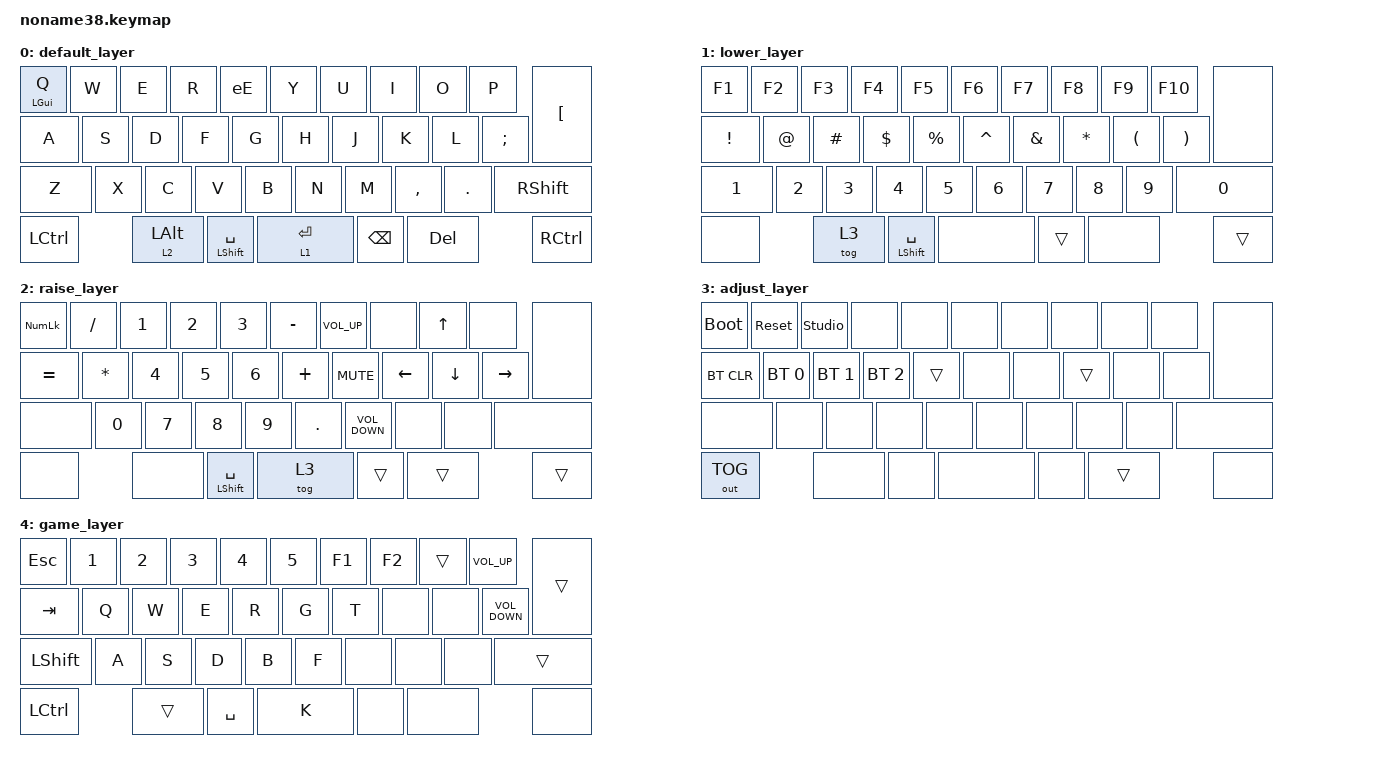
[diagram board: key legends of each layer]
/*
 * Copyright (c) 2020 The ZMK Contributors
 *
 * SPDX-License-Identifier: MIT
 */

#include <behaviors.dtsi>
#include <dt-bindings/zmk/bt.h>
#include <dt-bindings/zmk/keys.h>
#include <dt-bindings/zmk/outputs.h>

#define DEF 0
#define LWR 1
#define RSE 2
#define ADJ 3
#define GME 4

&lt { quick-tap-ms = <200>; };

&mt { quick-tap-ms = <200>; };

/ {
    combos {
        compatible = "zmk,combos";

        to_game_layer {
            bindings = <&to 4>;
            key-positions = <11 23>;
            layers = <0>;
        };

        to_default_layer {
            bindings = <&to 0>;
            key-positions = <2 12>;
            layers = <4>;
        };

        combo_backspace {
            bindings = <&kp BACKSPACE>;
            key-positions = <32 33>;
            layers = <0>;
        };

        combo_copy {
            bindings = <&kp LC(C)>;
            key-positions = <1 2 3>;
            layers = <0>;
        };

        combo_paste {
            bindings = <&kp LC(V)>;
            key-positions = <1 3>;
            layers = <0>;
        };

        combo_cut {
            bindings = <&kp LC(X)>;
            key-positions = <2 1>;
            layers = <0>;
        };

        combo_delete {
            bindings = <&kp DEL>;
            key-positions = <33 34>;
        };

        combo_esc {
            bindings = <&kp ESC>;
            key-positions = <0 1>;
        };

        combo_tab {
            bindings = <&kp TAB>;
            key-positions = <10 11>;
        };

        combo_backspace2 {
            bindings = <&kp BACKSPACE>;
            key-positions = <9 20>;
        };
    };

    behaviors {
        eE: td {
            compatible = "zmk,behavior-tap-dance";
            label = "Tap dance";
            #binding-cells = <0>;
            bindings = <&kp T>, <&kp TILDE>;
        };
    };

    keymap {
        compatible = "zmk,keymap";

        default_layer {
            // -----------------------------------------------------------------------------------------
            //        |   ~  |  Q  |  W  |  E  |  R  |  T  |   |  Y  |  U   |  I  |  O  |  P  |  F11   | 
            //        | CTRL |  A  |  S  |  D  |  F  |  G  |   |  H  |  J   |  K  |  L  |  ;  |CTRL/'|
            //        | LALT |  Z  |  X  |  C  |  V  |  B  |   |  N  |  M   |  ,  |  .  |  /  | RALT |
            //                           | RSE | SPC | LWR |   | LWR | BKSP | RSE |

            bindings = <
&mt LEFT_GUI Q  &kp W  &kp E           &kp R                 &eE    &kp Y        &kp U  &kp I          &kp O    &kp P
&kp A           &kp S  &kp D           &kp F                 &kp G  &kp H        &kp J  &kp K          &kp L    &kp SEMI                    &kp LEFT_BRACKET
&kp Z           &kp X  &kp C           &kp V                 &kp B  &kp N        &kp M  &kp COMMA      &kp DOT  &kp RIGHT_SHIFT
&kp LCTRL              &lt 2 LEFT_ALT  &mt LEFT_SHIFT SPACE         &lt 1 ENTER         &kp BACKSPACE  &kp DEL                   &kp RCTRL
            >;
        };

        lower_layer {
            // -----------------------------------------------------------------------------------------
            // |     |  _  |  F1 |  F2 |  F3 |  F4 |  F5 |   |  F6 |  F7 |  F8 |  F9 | F10 | F11 | F12 |
            //       |  +  |  !  |  @  |  #  |  $  |  %  |   |  ^  |  &  |  *  |  (  |  )  |  -  |
            //       |  =  |  1  |  2  |  3  |  4  |  5  |   |  6  |  7  |  8  |  9  |  0  |     |
            //                    | GUI |     | SPC |   | ENT |     | ALT |

            bindings = <
&kp F1           &kp F2       &kp F3    &kp F4                &kp F5       &kp F6     &kp F7         &kp F8        &kp F9                &kp F10
&kp EXCLAMATION  &kp AT_SIGN  &kp HASH  &kp DOLLAR            &kp PERCENT  &kp CARET  &kp AMPERSAND  &kp ASTERISK  &kp LEFT_PARENTHESIS  &kp RIGHT_PARENTHESIS          &none
&kp N1           &kp N2       &kp N3    &kp N4                &kp N5       &kp N6     &kp N7         &kp N8        &kp N9                &kp N0
&none                         &tog 3    &mt LEFT_SHIFT SPACE               &none                     &trans        &none                                        &trans
            >;
        };

        raise_layer {
            // -----------------------------------------------------------------------------------------
            // |     | NMLK |  /  |  7  |  8  |  9  |  -  |   | VOLU| HOME| PRSC| PGUP| SCLK| CLCK|     |
            //       | CTRL |  *  |  4  |  5  |  6  |  +  |   | MUT | LEFT|  UP | RGHT| INS | APP |
            //       |      |  0  |  1  |  2  |  3  |  .  |   | VOLD| END | DOWN| PGDN| PAUS|     |
            //                          |     |     | ADJ |   | ADJ |     |     |

            bindings = <
&kp KP_NUM  &kp SLASH  &kp N1  &kp N2                &kp N3  &kp MINUS  &kp C_VOL_UP       &none     &kp UP    &none
&kp EQUAL   &kp ASTRK  &kp N4  &kp N5                &kp N6  &kp PLUS   &kp K_MUTE         &kp LEFT  &kp DOWN  &kp RIGHT          &none
&none       &kp N0     &kp N7  &kp N8                &kp N9  &kp DOT    &kp C_VOLUME_DOWN  &none     &none     &none
&none                  &none   &mt LEFT_SHIFT SPACE          &tog 3                        &trans    &trans               &trans
            >;
        };

        adjust_layer {
            // -----------------------------------------------------------------------------------------
            // | RST | BLDR |     |     |     |     |     |   |     |     |     |     |     | BLDR | RST |
            //       | BTCLR| BT0 | BT1 | BT2 | BT3 | BT4 |   | BT4 | BT3 | BT2 | BT1 | BT0 | BTCLR|
            //       |      |     |     |     |     |     |   |     |     |     |     |     |      |
            //                          |     |     |     |   |     |     |     |

            bindings = <
&bootloader   &sys_reset    &studio_unlock  &none         &none   &none  &none  &none   &none   &none
&bt BT_CLR    &bt BT_SEL 0  &bt BT_SEL 1    &bt BT_SEL 2  &trans  &none  &none  &trans  &none   &none         &none
&none         &none         &none           &none         &none   &none  &none  &none   &none   &none
&out OUT_TOG                &none           &none                 &none         &none   &trans         &none
            >;
        };

        game_layer {
            bindings = <
&kp ESCAPE      &kp N1  &kp N2  &kp N3     &kp N4  &kp NUMBER_5  &kp F1  &kp F2  &trans  &kp C_VOLUME_UP
&kp TAB         &kp Q   &kp W   &kp E      &kp R   &kp G         &kp T   &none   &none   &kp C_VOLUME_DOWN         &trans
&kp LEFT_SHIFT  &kp A   &kp S   &kp D      &kp B   &kp F         &none   &none   &none   &trans
&kp LCTRL               &trans  &kp SPACE          &kp K                 &none   &none                      &none
            >;
        };
    };
};
